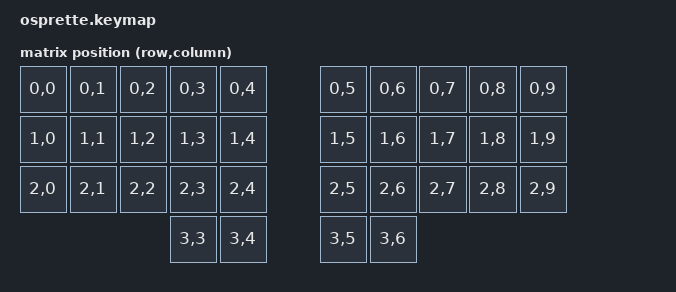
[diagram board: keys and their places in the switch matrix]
#include "standard-keymap.keymap"
#include <dt-bindings/zmk/matrix_transform.h>

/ {
    chosen {
        zmk,matrix_transform = &osprette_transform;
    };
        

    default_transform: keymap_transform_0 {
        compatible = "zmk,matrix-transform";
    };

    osprette_transform: osprette_transform {
        compatible = "zmk,matrix-transform";
        columns = <10>;
        rows = <4>;
        map = <
            RC(0,0) RC(0,1) RC(0,2) RC(0,3) RC(0,4) RC(0,5) RC(0,6) RC(0,7) RC(0,8) RC(0,9)
            RC(1,0) RC(1,1) RC(1,2) RC(1,3) RC(1,4) RC(1,5) RC(1,6) RC(1,7) RC(1,8) RC(1,9)
            RC(2,0) RC(2,1) RC(2,2) RC(2,3) RC(2,4) RC(2,5) RC(2,6) RC(2,7) RC(2,8) RC(2,9)
                                    RC(3,3) RC(3,4) RC(3,5) RC(3,6)
        >;
     };
};

